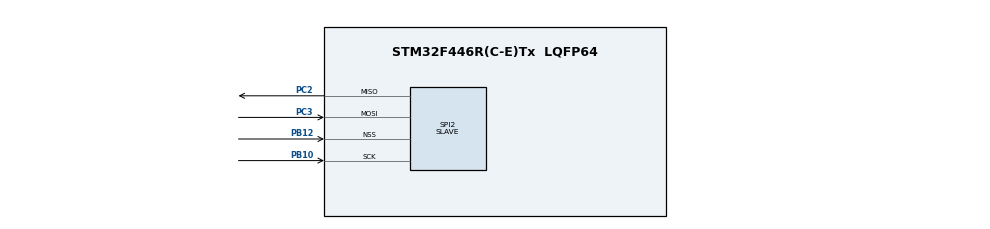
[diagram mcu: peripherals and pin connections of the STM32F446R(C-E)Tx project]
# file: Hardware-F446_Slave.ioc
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Mcu.Family=STM32F4
Mcu.Name=STM32F446R(C-E)Tx
Mcu.Package=LQFP64
NVIC.PriorityGroup=NVIC_PRIORITYGROUP_4
PB10.Mode=Full_Duplex_Slave
PB10.Signal=SPI2_SCK
PB12.Mode=NSS_Signal_Hard_Input
PB12.Signal=SPI2_NSS
PC2.Mode=Full_Duplex_Slave
PC2.Signal=SPI2_MISO
PC3.Mode=Full_Duplex_Slave
PC3.Signal=SPI2_MOSI
ProjectManager.HeapSize=0x200
ProjectManager.StackSize=0x400
ProjectManager.TargetToolchain=MDK-ARM V5.32
RCC.AHBCLKDivider=RCC_SYSCLK_DIV4
RCC.AHBFreq_Value=4000000
RCC.APB1Freq_Value=4000000
RCC.APB1TimFreq_Value=4000000
RCC.APB2Freq_Value=4000000
RCC.APB2TimFreq_Value=4000000
RCC.CortexFreq_Value=4000000
RCC.HCLKFreq_Value=4000000
RCC.USBFreq_Value=96000000
RCC.VCOOutputFreq_Value=192000000
SPI2.Direction=SPI_DIRECTION_2LINES
SPI2.Mode=SPI_MODE_SLAVE
SPI2.VirtualNSS=VM_NSSHARD
SPI2.VirtualType=VM_SLAVE
TIM2.Period=10-1
TIM2.Prescaler=1600-1
VP_TIM2_VS_ClockSourceINT.Mode=Internal
board=custom

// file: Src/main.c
/* USER CODE BEGIN Header */
/**
  ******************************************************************************
  * @file           : main.c
  * @brief          : Main program body
  ******************************************************************************
  * @attention
  *
  * Copyright (c) 2024 STMicroelectronics.
  * All rights reserved.
  *
  * This software is licensed under terms that can be found in the LICENSE file
  * in the root directory of this software component.
  * If no LICENSE file comes with this software, it is provided AS-IS.
  *
  ******************************************************************************
  */
/* USER CODE END Header */
#include "main.h"

/* USER CODE BEGIN PD */
#define ARRAY_SIZE 4
/* USER CODE END PD */

/* USER CODE BEGIN PV */
volatile uint8_t dataTrans[] = {7, 8, 4, 2};
volatile uint8_t receivedData;
volatile uint8_t sentData;
volatile uint8_t counterReceive = 0;
volatile uint8_t counterSend = 0;
volatile uint8_t dummyRead;
/* USER CODE END PV */

void SystemClock_Config(void);
static void MX_GPIO_Init(void);
static void MX_SPI2_Init(void);
static void MX_TIM2_Init(void);
/* USER CODE BEGIN PFP */
void delay_ms(uint32_t timeDelay);
void SPI_SendData(uint8_t data);
uint8_t SPI_ReceiveData(void);
/* USER CODE END PFP */

int main(void)
{

  /* MCU Configuration--------------------------------------------------------*/

  /* Reset of all peripherals, Initializes the Flash interface and the Systick. */
  //LL_APB2_GRP1_EnableClock(LL_APB2_GRP1_PERIPH_SYSCFG);
  //LL_APB1_GRP1_EnableClock(LL_APB1_GRP1_PERIPH_PWR);

  /* System interrupt init*/
  //NVIC_SetPriorityGrouping(NVIC_PRIORITYGROUP_4);

  /* SysTick_IRQn interrupt configuration */
  //NVIC_SetPriority(SysTick_IRQn, NVIC_EncodePriority(NVIC_GetPriorityGrouping(),15, 0));

  /* Configure the system clock */
  SystemClock_Config();

  /* Initialize all configured peripherals */
  MX_GPIO_Init();
  MX_SPI2_Init();
  MX_TIM2_Init();
  /* USER CODE BEGIN 2 */
	LL_SPI_Enable(SPI2);
  /* USER CODE END 2 */

  /* Infinite loop */
  while (1)
  {

    /* USER CODE BEGIN 3 */
		counterReceive = 0;
		counterSend = 0;
		receivedData = 0;

		while (LL_GPIO_IsInputPinSet(GPIOB, LL_GPIO_PIN_12));
		for (int i = 0; i< ARRAY_SIZE; i++)
		{
			receivedData = SPI_ReceiveData();
			counterReceive++;
		}
		while (!LL_GPIO_IsInputPinSet(GPIOB, LL_GPIO_PIN_12));
		receivedData = 0;
		while (LL_GPIO_IsInputPinSet(GPIOB, LL_GPIO_PIN_12))
			;
    while (counterSend < ARRAY_SIZE)
		{
			SPI_SendData(dataTrans[counterSend]);
			counterSend++;
			dummyRead = SPI_ReceiveData();
			(void)dummyRead;
    }

		while (!LL_GPIO_IsInputPinSet(GPIOB, LL_GPIO_PIN_12));

  }
  /* USER CODE END 3 */
}

void SystemClock_Config(void)
{
  LL_FLASH_SetLatency(LL_FLASH_LATENCY_0);
  while(LL_FLASH_GetLatency()!= LL_FLASH_LATENCY_0)
  {
  }
  LL_PWR_SetRegulVoltageScaling(LL_PWR_REGU_VOLTAGE_SCALE3);
  LL_PWR_DisableOverDriveMode();
  LL_RCC_HSI_SetCalibTrimming(16);
  LL_RCC_HSI_Enable();

   /* Wait till HSI is ready */
  while(LL_RCC_HSI_IsReady() != 1)
  {

  }
  LL_RCC_SetAHBPrescaler(LL_RCC_SYSCLK_DIV_4);
  LL_RCC_SetAPB1Prescaler(LL_RCC_APB1_DIV_1);
  LL_RCC_SetAPB2Prescaler(LL_RCC_APB2_DIV_1);
  LL_RCC_SetSysClkSource(LL_RCC_SYS_CLKSOURCE_HSI);

   /* Wait till System clock is ready */
  while(LL_RCC_GetSysClkSource() != LL_RCC_SYS_CLKSOURCE_STATUS_HSI)
  {

  }
  LL_Init1msTick(4000000);
  LL_SetSystemCoreClock(4000000);
  LL_RCC_SetTIMPrescaler(LL_RCC_TIM_PRESCALER_TWICE);
}

static void MX_SPI2_Init(void)
{

  LL_SPI_InitTypeDef SPI_InitStruct = {0};

  LL_GPIO_InitTypeDef GPIO_InitStruct = {0};

  /* Peripheral clock enable */
  LL_APB1_GRP1_EnableClock(LL_APB1_GRP1_PERIPH_SPI2);

  LL_AHB1_GRP1_EnableClock(LL_AHB1_GRP1_PERIPH_GPIOC);
  LL_AHB1_GRP1_EnableClock(LL_AHB1_GRP1_PERIPH_GPIOB);
  /**SPI2 GPIO Configuration
  PC2   ------> SPI2_MISO
  PC3   ------> SPI2_MOSI
  PB10   ------> SPI2_SCK
  PB12   ------> SPI2_NSS
  */
  GPIO_InitStruct.Pin = LL_GPIO_PIN_2|LL_GPIO_PIN_3;
  GPIO_InitStruct.Mode = LL_GPIO_MODE_ALTERNATE;
  GPIO_InitStruct.Speed = LL_GPIO_SPEED_FREQ_VERY_HIGH;
  GPIO_InitStruct.OutputType = LL_GPIO_OUTPUT_PUSHPULL;
  GPIO_InitStruct.Pull = LL_GPIO_PULL_NO;
  GPIO_InitStruct.Alternate = LL_GPIO_AF_5;
  LL_GPIO_Init(GPIOC, &GPIO_InitStruct);

  GPIO_InitStruct.Pin = LL_GPIO_PIN_10|LL_GPIO_PIN_12;
  GPIO_InitStruct.Mode = LL_GPIO_MODE_ALTERNATE;
  GPIO_InitStruct.Speed = LL_GPIO_SPEED_FREQ_VERY_HIGH;
  GPIO_InitStruct.OutputType = LL_GPIO_OUTPUT_PUSHPULL;
  GPIO_InitStruct.Pull = LL_GPIO_PULL_NO;
  GPIO_InitStruct.Alternate = LL_GPIO_AF_5;
  LL_GPIO_Init(GPIOB, &GPIO_InitStruct);

  /* SPI2 parameter configuration*/
  SPI_InitStruct.TransferDirection = LL_SPI_FULL_DUPLEX;
  SPI_InitStruct.Mode = LL_SPI_MODE_SLAVE;
  SPI_InitStruct.DataWidth = LL_SPI_DATAWIDTH_8BIT;
  SPI_InitStruct.ClockPolarity = LL_SPI_POLARITY_LOW;
  SPI_InitStruct.ClockPhase = LL_SPI_PHASE_1EDGE;
  SPI_InitStruct.NSS = LL_SPI_NSS_HARD_INPUT;
  SPI_InitStruct.BitOrder = LL_SPI_MSB_FIRST;
  SPI_InitStruct.CRCCalculation = LL_SPI_CRCCALCULATION_DISABLE;
  SPI_InitStruct.CRCPoly = 10;
  LL_SPI_Init(SPI2, &SPI_InitStruct);
  LL_SPI_SetStandard(SPI2, LL_SPI_PROTOCOL_MOTOROLA);

}

static void MX_TIM2_Init(void)
{

  LL_TIM_InitTypeDef TIM_InitStruct = {0};

  /* Peripheral clock enable */
  LL_APB1_GRP1_EnableClock(LL_APB1_GRP1_PERIPH_TIM2);

  TIM_InitStruct.Prescaler = 1600-LL_TIM_IC_FILTER_FDIV1_N2;
  TIM_InitStruct.CounterMode = LL_TIM_COUNTERMODE_UP;
  TIM_InitStruct.Autoreload = LL_TIM_IC_FILTER_FDIV16_N5-LL_TIM_IC_FILTER_FDIV1_N2;
  TIM_InitStruct.ClockDivision = LL_TIM_CLOCKDIVISION_DIV1;
  LL_TIM_Init(TIM2, &TIM_InitStruct);
  LL_TIM_DisableARRPreload(TIM2);
  LL_TIM_SetClockSource(TIM2, LL_TIM_CLOCKSOURCE_INTERNAL);
  LL_TIM_SetTriggerOutput(TIM2, LL_TIM_TRGO_RESET);
  LL_TIM_DisableMasterSlaveMode(TIM2);
  /* USER CODE BEGIN TIM2_Init 2 */
	LL_TIM_EnableCounter(TIM2);
  /* USER CODE END TIM2_Init 2 */

}

static void MX_GPIO_Init(void)
{

  /* GPIO Ports Clock Enable */
  LL_AHB1_GRP1_EnableClock(LL_AHB1_GRP1_PERIPH_GPIOC);
  LL_AHB1_GRP1_EnableClock(LL_AHB1_GRP1_PERIPH_GPIOB);

}

/* USER CODE BEGIN 4 */
void delay_ms(uint32_t timeDelay)
{
    for (uint32_t i = 0; i < timeDelay; i++)
    {
        LL_TIM_SetCounter(TIM2, 0);
			  LL_TIM_EnableCounter(TIM2);
        while (!LL_TIM_IsActiveFlag_UPDATE(TIM2));
        LL_TIM_ClearFlag_UPDATE(TIM2);
    }
}

/* Gui du lieu tu Slave sang Master */
void SPI_SendData(uint8_t data)
{
	//while (LL_GPIO_IsInputPinSet(GPIOB, LL_GPIO_PIN_12));

  // Doi cho TXE (Transmit Data Register Empty)
  while (!LL_SPI_IsActiveFlag_TXE(SPI2));

	sentData = data;
  // Gui du lieu
  LL_SPI_TransmitData8(SPI2, data);

  // Doi cho BSY (Busy flag) tra ve 0
  while (LL_SPI_IsActiveFlag_BSY(SPI2));

	// Р?i cho d?n khi cу d? li?u nh?n (RXNE flag du?c set)
  //while (!LL_SPI_IsActiveFlag_RXNE(SPI2));
  //dummyRead = LL_SPI_ReceiveData8(SPI2);

	//while (!LL_GPIO_IsInputPinSet(GPIOB, LL_GPIO_PIN_12));
}

/* Doc du lieu tu Master */
uint8_t SPI_ReceiveData(void)
{
	uint8_t receivedData = 0;
	// Doi cho BSY (Busy flag) tra ve 0
 //while (LL_SPI_IsActiveFlag_BSY(SPI2));
  //while (LL_GPIO_IsInputPinSet(GPIOB, LL_GPIO_PIN_12));
	//while (LL_SPI_IsActiveFlag_BSY(SPI2));
  // Doi cho RXNE (Receive Data Register Not Empty)
  while (!LL_SPI_IsActiveFlag_RXNE(SPI2));

	receivedData = LL_SPI_ReceiveData8(SPI2);

	while (LL_SPI_IsActiveFlag_BSY(SPI2));

	 // G?i m?t dummy byte (0xFF) d? lаm m?i b? d?m TX
   // while (!LL_SPI_IsActiveFlag_TXE(SPI2));
    // LL_SPI_TransmitData8(SPI2, 0xFF);

	//while (!LL_GPIO_IsInputPinSet(GPIOB, LL_GPIO_PIN_12));

  // Doc du lieu nhan duoc
  return receivedData;
}

/* USER CODE END 4 */

void Error_Handler(void)
{
  __disable_irq();
  while (1)
  {
  }
}
